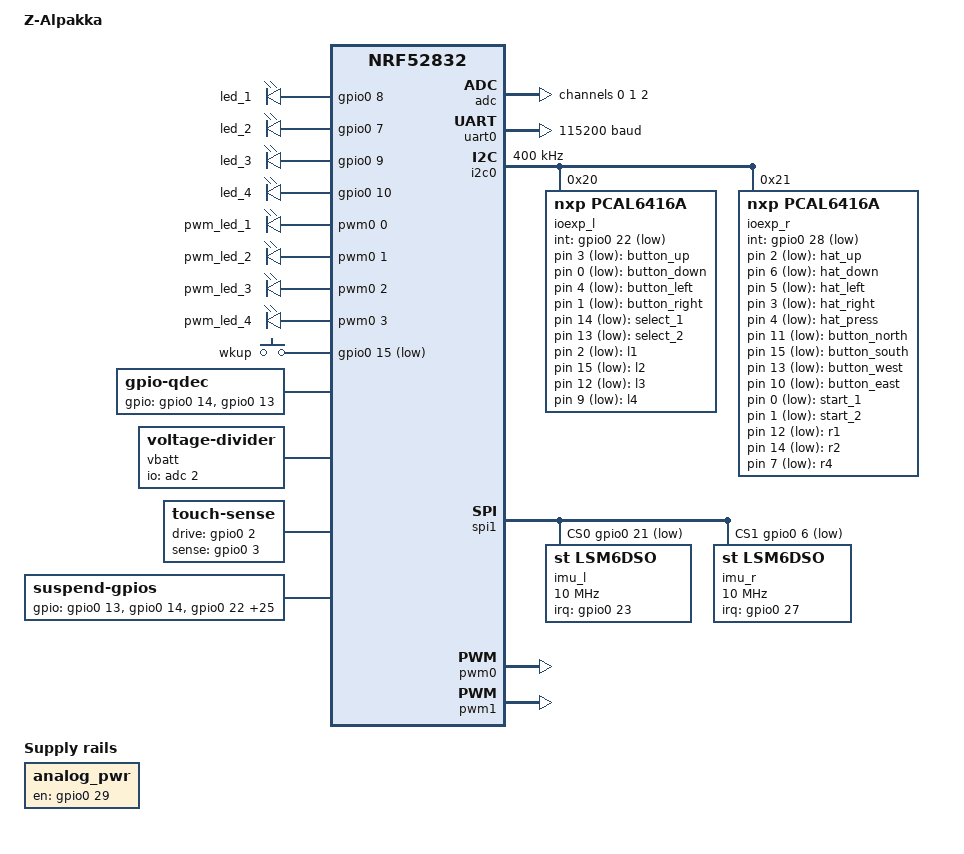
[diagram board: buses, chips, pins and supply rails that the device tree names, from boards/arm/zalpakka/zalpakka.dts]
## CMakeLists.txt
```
cmake_minimum_required(VERSION 3.20.0)

set(BOARD_ROOT ${CMAKE_CURRENT_LIST_DIR})
set(BOARD zalpakka)

find_package(Zephyr REQUIRED HINTS $ENV{ZEPHYR_BASE})
project(zalpakka)

FILE(GLOB app_sources src/*.c)
target_sources(app PRIVATE ${app_sources})
```

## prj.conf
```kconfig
CONFIG_SYSTEM_WORKQUEUE_STACK_SIZE=2048
CONFIG_INPUT_THREAD_STACK_SIZE=1024

CONFIG_INPUT_THREAD_PRIORITY_OVERRIDE=y
CONFIG_INPUT_THREAD_PRIORITY=10
CONFIG_SHELL_THREAD_PRIORITY_OVERRIDE=y
CONFIG_SHELL_THREAD_PRIORITY=13

CONFIG_PICOLIBC=y

CONFIG_PM_DEVICE=y

CONFIG_FPU=y
CONFIG_GPIO=y
CONFIG_I2C=y
CONFIG_PWM=y
CONFIG_LED=y
CONFIG_REGULATOR=y
CONFIG_REBOOT=y
CONFIG_ADC=y
CONFIG_SENSOR=y
CONFIG_FLASH=y
CONFIG_STREAM_FLASH=y
CONFIG_FLASH_MAP=y
CONFIG_NVS=y
CONFIG_SETTINGS=y
CONFIG_WATCHDOG=y
CONFIG_INPUT=y

CONFIG_LOG=y
CONFIG_LOG_PROCESS_THREAD_SLEEP_MS=100

CONFIG_SHELL=y
CONFIG_THREAD_RUNTIME_STATS=y

CONFIG_ADC_SHELL=n
CONFIG_BT_SHELL=n
CONFIG_DEVMEM_SHELL=n
CONFIG_FLASH_SHELL=n
CONFIG_GPIO_SHELL=n
CONFIG_I2C_SHELL=y
CONFIG_LED_SHELL=y
CONFIG_REGULATOR_SHELL=y
CONFIG_SENSOR_SHELL=y
CONFIG_SETTINGS_SHELL=y

CONFIG_BT=y
CONFIG_BT_SMP=y
CONFIG_BT_PERIPHERAL=y
CONFIG_BT_BAS=y
CONFIG_BT_DEVICE_NAME="Z-Alpakka"
CONFIG_BT_DEVICE_APPEARANCE=964
CONFIG_BT_SETTINGS=y

CONFIG_BT_PERIPHERAL_PREF_MIN_INT=6
CONFIG_BT_PERIPHERAL_PREF_MAX_INT=6
CONFIG_BT_PERIPHERAL_PREF_LATENCY=10
CONFIG_BT_PERIPHERAL_PREF_TIMEOUT=500
CONFIG_BT_CONN_PARAM_UPDATE_TIMEOUT=1000

CONFIG_BT_MAX_CONN=1
CONFIG_BT_MAX_PAIRED=1
```

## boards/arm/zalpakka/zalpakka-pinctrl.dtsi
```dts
&pinctrl {
	uart0_default: uart0_default {
		group1 {
			psels = <NRF_PSEL(UART_TX, 0, 26)>;
		};
		group2 {
			psels = <NRF_PSEL(UART_RX, 0, 25)>;
			bias-pull-up;
		};
	};

	uart0_sleep: uart0_sleep {
		group1 {
			psels = <NRF_PSEL(UART_TX, 0, 26)>,
				<NRF_PSEL(UART_RX, 0, 25)>;
			low-power-enable;
		};
	};

	i2c0_default: i2c0_default {
		group1 {
			psels = <NRF_PSEL(TWIM_SCL, 0, 17)>,
				<NRF_PSEL(TWIM_SDA, 0, 16)>;
		};
	};

	i2c0_sleep: i2c0_sleep {
		group1 {
			psels = <NRF_PSEL(TWIM_SCL, 0, 17)>,
				<NRF_PSEL(TWIM_SDA, 0, 16)>;
			low-power-enable;
		};
	};

	pwm0_default: pwm0_default {
		group1 {
			psels = <NRF_PSEL(PWM_OUT0, 0, 8)>,
				<NRF_PSEL(PWM_OUT1, 0, 7)>,
				<NRF_PSEL(PWM_OUT2, 0, 9)>,
				<NRF_PSEL(PWM_OUT3, 0, 10)>;
		};
	};

	pwm0_sleep: pwm0_sleep {
		group1 {
			psels = <NRF_PSEL(PWM_OUT0, 0, 8)>,
				<NRF_PSEL(PWM_OUT1, 0, 7)>,
				<NRF_PSEL(PWM_OUT2, 0, 9)>,
				<NRF_PSEL(PWM_OUT3, 0, 10)>;
			low-power-enable;
		};
	};

	pwm1_default: pwm1_default {
		group1 {
			psels = <NRF_PSEL(PWM_OUT0, 0, 11)>,
				<NRF_PSEL(PWM_OUT1, 0, 12)>;
		};
	};

	pwm1_sleep: pwm1_sleep {
		group1 {
			psels = <NRF_PSEL(PWM_OUT0, 0, 11)>,
				<NRF_PSEL(PWM_OUT1, 0, 12)>;
			low-power-enable;
		};
	};

	spi1_default: spi1_default {
		group1 {
			psels = <NRF_PSEL(SPIM_SCK, 0, 20)>,
				<NRF_PSEL(SPIM_MISO, 0, 18)>,
				<NRF_PSEL(SPIM_MOSI, 0, 19)>;
		};
	};

	spi1_sleep: spi1_sleep {
		group1 {
			psels = <NRF_PSEL(SPIM_SCK, 0, 20)>,
				<NRF_PSEL(SPIM_MISO, 0, 18)>,
				<NRF_PSEL(SPIM_MOSI, 0, 19)>;
			low-power-enable;
			bias-pull-down;
		};
	};

	qdec0_default: qdec0_default {
		group1 {
			psels = <NRF_PSEL(QDEC_A, 0, 13)>,
				<NRF_PSEL(QDEC_B, 0, 14)>;
		};
	};

	qdec0_sleep: qdec0_sleep {
		group1 {
			psels = <NRF_PSEL(QDEC_A, 0, 13)>,
				<NRF_PSEL(QDEC_B, 0, 14)>;
			low-power-enable;
		};
	};
};
```

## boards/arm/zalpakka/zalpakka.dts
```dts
/dts-v1/;
#include <nordic/nrf52832_qfaa.dtsi>
#include <dt-bindings/input/input-event-codes.h>
#include "zalpakka-pinctrl.dtsi"

/ {
	model = "Z-Alpakka";
	compatible = "inputlabs,z-alpakka";

	chosen {
		zephyr,console = &uart0;
		zephyr,shell-uart = &uart0;
		zephyr,uart-mcumgr = &uart0;
		zephyr,sram = &sram0;
		zephyr,flash = &flash0;
		zephyr,code-partition = &slot0_partition;
	};

	leds {
		compatible = "gpio-leds";
		led_1 {
			gpios = <&gpio0 8 GPIO_ACTIVE_HIGH>;
		};
		led_2 {
			gpios = <&gpio0 7 GPIO_ACTIVE_HIGH>;
		};
		led_3 {
			gpios = <&gpio0 9 GPIO_ACTIVE_HIGH>;
		};
		led_4 {
			gpios = <&gpio0 10 GPIO_ACTIVE_HIGH>;
		};
	};

	pwmleds {
		compatible = "pwm-leds";
		pwm_led_1 {
			pwms = <&pwm0 0 PWM_HZ(200) PWM_POLARITY_NORMAL>;
		};
		pwm_led_2 {
			pwms = <&pwm0 1 PWM_HZ(200) PWM_POLARITY_NORMAL>;
		};
		pwm_led_3 {
			pwms = <&pwm0 2 PWM_HZ(200) PWM_POLARITY_NORMAL>;
		};
		pwm_led_4 {
			pwms = <&pwm0 3 PWM_HZ(200) PWM_POLARITY_NORMAL>;
		};
	};

	buttons {
		compatible = "zephyr,gpio-keys";
		wkup: button_analog {
			gpios = <&gpio0 15 (GPIO_PULL_UP | GPIO_ACTIVE_LOW)>;
			zephyr,code = <INPUT_BTN_MODE>;
		};

		button_up {
			gpios = <&ioexp_l 3 (GPIO_PULL_UP | GPIO_ACTIVE_LOW)>;
			zephyr,code = <INPUT_KEY_0>;
		};
		button_down {
			gpios = <&ioexp_l 0 (GPIO_PULL_UP | GPIO_ACTIVE_LOW)>;
			zephyr,code = <INPUT_KEY_1>;
		};
		button_left {
			gpios = <&ioexp_l 4 (GPIO_PULL_UP | GPIO_ACTIVE_LOW)>;
			zephyr,code = <INPUT_KEY_2>;
		};
		button_right {
			gpios = <&ioexp_l 1 (GPIO_PULL_UP | GPIO_ACTIVE_LOW)>;
			zephyr,code = <INPUT_KEY_3>;
		};

		hat_up {
			gpios = <&ioexp_r 2 (GPIO_PULL_UP | GPIO_ACTIVE_LOW)>;
			zephyr,code = <INPUT_BTN_DPAD_UP>;
		};
		hat_down {
			gpios = <&ioexp_r 6 (GPIO_PULL_UP | GPIO_ACTIVE_LOW)>;
			zephyr,code = <INPUT_BTN_DPAD_DOWN>;
		};
		hat_left {
			gpios = <&ioexp_r 5 (GPIO_PULL_UP | GPIO_ACTIVE_LOW)>;
			zephyr,code = <INPUT_BTN_DPAD_LEFT>;
		};
		hat_right {
			gpios = <&ioexp_r 3 (GPIO_PULL_UP | GPIO_ACTIVE_LOW)>;
			zephyr,code = <INPUT_BTN_DPAD_RIGHT>;
		};
		hat_press {
			gpios = <&ioexp_r 4 (GPIO_PULL_UP | GPIO_ACTIVE_LOW)>;
			zephyr,code = <INPUT_BTN_MIDDLE>;
		};

		button_north {
			gpios = <&ioexp_r 11 (GPIO_PULL_UP | GPIO_ACTIVE_LOW)>;
			zephyr,code = <INPUT_BTN_NORTH>;
		};
		button_south {
			gpios = <&ioexp_r 15 (GPIO_PULL_UP | GPIO_ACTIVE_LOW)>;
			zephyr,code = <INPUT_BTN_SOUTH>;
		};
		button_west {
			gpios = <&ioexp_r 13 (GPIO_PULL_UP | GPIO_ACTIVE_LOW)>;
			zephyr,code = <INPUT_BTN_WEST>;
		};
		button_east {
			gpios = <&ioexp_r 10 (GPIO_PULL_UP | GPIO_ACTIVE_LOW)>;
			zephyr,code = <INPUT_BTN_EAST>;
		};

		select_1 {
			gpios = <&ioexp_l 14 (GPIO_PULL_UP | GPIO_ACTIVE_LOW)>;
			zephyr,code = <INPUT_BTN_SELECT>;
		};
		select_2 {
			gpios = <&ioexp_l 13 (GPIO_PULL_UP | GPIO_ACTIVE_LOW)>;
			zephyr,code = <INPUT_KEY_A>;
		};
		start_1 {
			gpios = <&ioexp_r 0 (GPIO_PULL_UP | GPIO_ACTIVE_LOW)>;
			zephyr,code = <INPUT_BTN_START>;
		};
		start_2 {
			gpios = <&ioexp_r 1 (GPIO_PULL_UP | GPIO_ACTIVE_LOW)>;
			zephyr,code = <INPUT_KEY_B>;
		};

		l1 {
			gpios = <&ioexp_l 2 (GPIO_PULL_UP | GPIO_ACTIVE_LOW)>;
			zephyr,code = <INPUT_BTN_TL>;
		};
		l2 {
			gpios = <&ioexp_l 15 (GPIO_PULL_UP | GPIO_ACTIVE_LOW)>;
			zephyr,code = <INPUT_BTN_TL2>;
		};
		l3 {
			gpios = <&ioexp_l 12 (GPIO_PULL_UP | GPIO_ACTIVE_LOW)>;
			zephyr,code = <INPUT_BTN_THUMBL>;
		};
		l4 {
			gpios = <&ioexp_l 9 (GPIO_PULL_UP | GPIO_ACTIVE_LOW)>;
			zephyr,code = <INPUT_KEY_C>;
		};
		r1 {
			gpios = <&ioexp_r 12 (GPIO_PULL_UP | GPIO_ACTIVE_LOW)>;
			zephyr,code = <INPUT_BTN_TR>;
		};
		r2 {
			gpios = <&ioexp_r 14 (GPIO_PULL_UP | GPIO_ACTIVE_LOW)>;
			zephyr,code = <INPUT_BTN_TR2>;
		};
		r4 {
			gpios = <&ioexp_r 7 (GPIO_PULL_UP | GPIO_ACTIVE_LOW)>;
			zephyr,code = <INPUT_KEY_D>;
		};
	};

	qdec {
		compatible = "gpio-qdec";
		gpios = <&gpio0 14 (GPIO_PULL_UP | GPIO_ACTIVE_HIGH)>,
		        <&gpio0 13 (GPIO_PULL_UP | GPIO_ACTIVE_HIGH)>;
		steps-per-period = <2>;
		zephyr,axis = <INPUT_REL_Z>;
		sample-time-us = <2000>;
		idle-timeout-ms = <200>;
	};

	analog-axis {
		compatible = "analog-axis";
		axis-x {
			io-channels = <&adc 1>;
			offset = <(-480)>;
			dead-zone = <30>;
			limit = <300>;
			code = <INPUT_ABS_X>;
		};
		axis-y {
			io-channels = <&adc 0>;
			offset = <(-480)>;
			dead-zone = <30>;
			limit = <300>;
			code = <INPUT_ABS_Y>;
		};
	};

	analog_pwr: analog_pwr {
		 compatible = "regulator-fixed";
		 regulator-name = "analog_pwr";
		 enable-gpios = <&gpio0 29 GPIO_ACTIVE_HIGH>;
		 regulator-boot-on;
	};

	vbatt: vbatt {
		compatible = "voltage-divider";
		io-channels = <&adc 2>;
		output-ohms = <100000>;
		full-ohms = <200000>;
	};

	touch-sense {
		compatible = "touch-sense";
		drive-gpios = <&gpio0 2 GPIO_ACTIVE_HIGH>;
		sense-gpios = <&gpio0 3 GPIO_ACTIVE_HIGH>;
	};

	suspend-gpios {
		compatible = "suspend-gpios";
		gpios = <&gpio0 13 (GPIO_PULL_DOWN | GPIO_ACTIVE_HIGH)>,
			<&gpio0 14 (GPIO_PULL_DOWN | GPIO_ACTIVE_HIGH)>,
			<&gpio0 22 (GPIO_PULL_DOWN | GPIO_ACTIVE_HIGH)>,
			<&gpio0 28 (GPIO_PULL_DOWN | GPIO_ACTIVE_HIGH)>,
			<&ioexp_l  0 (GPIO_PULL_DOWN | GPIO_ACTIVE_HIGH)>,
			<&ioexp_l  1 (GPIO_PULL_DOWN | GPIO_ACTIVE_HIGH)>,
			<&ioexp_l  2 (GPIO_PULL_DOWN | GPIO_ACTIVE_HIGH)>,
			<&ioexp_l  3 (GPIO_PULL_DOWN | GPIO_ACTIVE_HIGH)>,
			<&ioexp_l  4 (GPIO_PULL_DOWN | GPIO_ACTIVE_HIGH)>,
			<&ioexp_l  9 (GPIO_PULL_DOWN | GPIO_ACTIVE_HIGH)>,
			<&ioexp_l 12 (GPIO_PULL_DOWN | GPIO_ACTIVE_HIGH)>,
			<&ioexp_l 13 (GPIO_PULL_DOWN | GPIO_ACTIVE_HIGH)>,
			<&ioexp_l 14 (GPIO_PULL_DOWN | GPIO_ACTIVE_HIGH)>,
			<&ioexp_l 15 (GPIO_PULL_DOWN | GPIO_ACTIVE_HIGH)>,
			<&ioexp_r  0 (GPIO_PULL_DOWN | GPIO_ACTIVE_HIGH)>,
			<&ioexp_r  1 (GPIO_PULL_DOWN | GPIO_ACTIVE_HIGH)>,
			<&ioexp_r  2 (GPIO_PULL_DOWN | GPIO_ACTIVE_HIGH)>,
			<&ioexp_r  3 (GPIO_PULL_DOWN | GPIO_ACTIVE_HIGH)>,
			<&ioexp_r  4 (GPIO_PULL_DOWN | GPIO_ACTIVE_HIGH)>,
			<&ioexp_r  5 (GPIO_PULL_DOWN | GPIO_ACTIVE_HIGH)>,
			<&ioexp_r  6 (GPIO_PULL_DOWN | GPIO_ACTIVE_HIGH)>,
			<&ioexp_r  7 (GPIO_PULL_DOWN | GPIO_ACTIVE_HIGH)>,
			<&ioexp_r 10 (GPIO_PULL_DOWN | GPIO_ACTIVE_HIGH)>,
			<&ioexp_r 11 (GPIO_PULL_DOWN | GPIO_ACTIVE_HIGH)>,
			<&ioexp_r 12 (GPIO_PULL_DOWN | GPIO_ACTIVE_HIGH)>,
			<&ioexp_r 13 (GPIO_PULL_DOWN | GPIO_ACTIVE_HIGH)>,
			<&ioexp_r 14 (GPIO_PULL_DOWN | GPIO_ACTIVE_HIGH)>,
			<&ioexp_r 15 (GPIO_PULL_DOWN | GPIO_ACTIVE_HIGH)>;
	};
};

&adc {
	status = "okay";
	#address-cells = <1>;
	#size-cells = <0>;

	channel@0 {
		reg = <0>;
		zephyr,gain = "ADC_GAIN_1_5";
		zephyr,reference = "ADC_REF_INTERNAL";
		zephyr,acquisition-time = <ADC_ACQ_TIME(ADC_ACQ_TIME_MICROSECONDS, 5)>;
		zephyr,input-positive = <NRF_SAADC_AIN2>;
		zephyr,resolution = <10>;
	};

	channel@1 {
		reg = <1>;
		zephyr,gain = "ADC_GAIN_1_5";
		zephyr,reference = "ADC_REF_INTERNAL";
		zephyr,acquisition-time = <ADC_ACQ_TIME(ADC_ACQ_TIME_MICROSECONDS, 5)>;
		zephyr,input-positive = <NRF_SAADC_AIN3>;
		zephyr,resolution = <10>;
	};

	channel@2 {
		reg = <2>;
		zephyr,gain = "ADC_GAIN_1_4";
		zephyr,reference = "ADC_REF_INTERNAL";
		zephyr,acquisition-time = <ADC_ACQ_TIME(ADC_ACQ_TIME_MICROSECONDS, 40)>;
		zephyr,input-positive = <NRF_SAADC_AIN6>;
		zephyr,resolution = <10>;
	};
};

&gpiote {
	status = "okay";
};

&gpio0 {
	status = "okay";
};

&uart0 {
	status = "okay";
	compatible = "nordic,nrf-uarte";
	current-speed = <115200>;
	pinctrl-0 = <&uart0_default>;
	pinctrl-1 = <&uart0_sleep>;
	pinctrl-names = "default", "sleep";
};

&i2c0 {
	compatible = "nordic,nrf-twi";
	status = "okay";
	clock-frequency = <I2C_BITRATE_FAST>;
	pinctrl-0 = <&i2c0_default>;
	pinctrl-1 = <&i2c0_sleep>;
	pinctrl-names = "default", "sleep";

	ioexp_l: pcal6416a@20 {
		compatible = "nxp,pcal6416a";
		status = "okay";
		reg = <0x20>;
		gpio-controller;
		#gpio-cells = <2>;
		ngpios = <16>;
		int-gpios = <&gpio0 22 (GPIO_PULL_UP | GPIO_ACTIVE_LOW)>;
	};

	ioexp_r: pcal6416a@21 {
		compatible = "nxp,pcal6416a";
		status = "okay";
		reg = <0x21>;
		gpio-controller;
		#gpio-cells = <2>;
		ngpios = <16>;
		int-gpios = <&gpio0 28 (GPIO_PULL_UP | GPIO_ACTIVE_LOW)>;
	};
};

&spi1 {
	compatible = "nordic,nrf-spi";
	status = "okay";
	pinctrl-0 = <&spi1_default>;
	pinctrl-1 = <&spi1_sleep>;
	pinctrl-names = "default", "sleep";

	cs-gpios = <&gpio0 21 GPIO_ACTIVE_LOW>, <&gpio0 6 GPIO_ACTIVE_LOW>;

	imu_l: lsm6dso@0 {
		compatible = "st,lsm6dso";
		spi-max-frequency = <DT_FREQ_M(10)>;
		reg = <0>;
		irq-gpios = <&gpio0 23 GPIO_ACTIVE_HIGH>;
	};

	imu_r: lsm6dso@1 {
		compatible = "st,lsm6dso";
		spi-max-frequency = <DT_FREQ_M(10)>;
		reg = <1>;
		irq-gpios = <&gpio0 27 GPIO_ACTIVE_HIGH>;
	};
};

&pwm0 {
	status = "okay";
	pinctrl-0 = <&pwm0_default>;
	pinctrl-1 = <&pwm0_sleep>;
	pinctrl-names = "default", "sleep";
};

&pwm1 {
	status = "okay";
	pinctrl-0 = <&pwm1_default>;
	pinctrl-1 = <&pwm1_sleep>;
	pinctrl-names = "default", "sleep";
};

&flash0 {
	partitions {
		compatible = "fixed-partitions";
		#address-cells = <1>;
		#size-cells = <1>;

		boot_partition: partition@0 {
			label = "mcuboot";
			reg = <0x00000000 0x8000>;
		};
		slot0_partition: partition@8000 {
			label = "image-0";
			reg = <0x00008000 0x3a000>;
		};
		slot1_partition: partition@42000 {
			label = "image-1";
			reg = <0x00042000 0x3a000>;
		};
		storage_partition: partition@7c000 {
			label = "storage";
			reg = <0x0007c000 0x00004000>;
		};
	};
};
```

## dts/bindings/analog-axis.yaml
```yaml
description: Analog axis

compatible: "analog-axis"

include: base.yaml

child-binding:
  properties:
    io-channels:
      type: phandle-array
      required: true

    offset:
      type: int
      required: true

    dead-zone:
      type: int
      required: true

    limit:
      type: int
      required: true

    code:
      type: int
      required: true

    invert:
      type: boolean
```

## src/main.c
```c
#include <zephyr/drivers/watchdog.h>
#include <zephyr/kernel.h>
#include <zephyr/logging/log.h>

LOG_MODULE_REGISTER(main, LOG_LEVEL_INF);

static const struct device *wdt = DEVICE_DT_GET(DT_NODELABEL(wdt));

int main(void)
{
	int wdt_channel_id;
	int err;

	printk("Z-Alpakka started\n");

	if (!device_is_ready(wdt)) {
		LOG_ERR("wdt device is not ready");
		return 0;
	}

	struct wdt_timeout_cfg wdt_config = {
		.flags = WDT_FLAG_RESET_SOC,
		.window.min = 0,
		.window.max = 5000,
	};

	wdt_channel_id = wdt_install_timeout(wdt, &wdt_config);
	if (wdt_channel_id < 0) {
		LOG_ERR("Watchdog install error");
		return 0;
	}

	err = wdt_setup(wdt, WDT_OPT_PAUSE_HALTED_BY_DBG);
	if (err < 0) {
		LOG_ERR("Watchdog setup error");
		return 0;
	}

	for (;;) {
		wdt_feed(wdt, wdt_channel_id);
		k_sleep(K_SECONDS(1));
	}

	return 0;
}
```

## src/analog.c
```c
#include <stdlib.h>
#include <zephyr/drivers/adc.h>
#include <zephyr/input/input.h>
#include <zephyr/kernel.h>
#include <zephyr/logging/log.h>
#include <zephyr/sys/util.h>

#include "system.h"

#define DT_DRV_COMPAT analog_axis

LOG_MODULE_REGISTER(analog, LOG_LEVEL_INF);

static K_TIMER_DEFINE(analog_sync, NULL, NULL);

#define AXIS_INIT(node) { \
	.adc = ADC_DT_SPEC_GET(node), \
	.offset = DT_PROP(node, offset), \
	.dead_zone = DT_PROP(node, dead_zone), \
	.limit = DT_PROP(node, limit), \
	.code = DT_PROP(node, code), \
	.invert = DT_PROP(node, invert), \
},

static const struct {
	struct adc_dt_spec adc;
	int offset;
	int dead_zone;
	int limit;
	uint16_t code;
	bool invert;
} axis[] = {
	DT_INST_FOREACH_CHILD(0, AXIS_INIT)
};

#define CHANNELS ARRAY_SIZE(axis)

static struct {
	uint8_t out[CHANNELS];
} data;

BUILD_ASSERT(CHANNELS == 2);

static void analog_loop(void)
{
	int err;
	int i;
	int16_t bufs[CHANNELS];
	int32_t out;
	struct adc_sequence sequence = {
		.buffer = bufs,
		.buffer_size = sizeof(bufs),
	};

	adc_sequence_init_dt(&axis[0].adc, &sequence);

	for (i = 0; i < CHANNELS; i++) {
		sequence.channels |= BIT(axis[i].adc.channel_id);
	}

	err = adc_read(axis[0].adc.dev, &sequence);
	if (err < 0) {
		LOG_ERR("Could not read (%d)", err);
		return;
	}

	LOG_DBG("analog: %4d %4d", bufs[0], bufs[1]);

	for (i = 0; i < CHANNELS; i++) {
		bufs[i] += axis[i].offset;

		if (axis[i].invert) {
			bufs[i] *= -1;
		}

		if (abs(bufs[i]) < axis[i].dead_zone) {
			out = 128;
		} else {
			out = CLAMP(bufs[i] * INT8_MAX / axis[i].limit + 128,
				       0, UINT8_MAX);
		}

		if (data.out[i] != out) {
			input_report_abs(NULL, axis[i].code, out, true, K_FOREVER);
		}
		data.out[i] = out;
	}
}

static void analog_thread(void)
{
	int err;
	int i;

	for (i = 0; i < CHANNELS; i++) {
		if (!device_is_ready(axis[i].adc.dev)) {
			LOG_ERR("ADC controller device not ready");
			return;
		}

		err = adc_channel_setup_dt(&axis[i].adc);
		if (err < 0) {
			LOG_ERR("Could not setup channel #%d (%d)", i, err);
			return;
		}
	}

	k_timer_start(&analog_sync, K_MSEC(15), K_MSEC(15));

	while (system_is_running()) {
		analog_loop();
		k_timer_status_sync(&analog_sync);
	}
}

K_THREAD_DEFINE(analog, 512, analog_thread, NULL, NULL, NULL, 7, 0, 0);
```

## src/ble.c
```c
#include <zephyr/bluetooth/bluetooth.h>
#include <zephyr/bluetooth/hci.h>
#include <zephyr/bluetooth/uuid.h>
#include <zephyr/device.h>
#include <zephyr/kernel.h>
#include <zephyr/logging/log.h>
#include <zephyr/mgmt/mcumgr/transport/smp_bt.h>
#include <zephyr/settings/settings.h>
#include <zephyr/shell/shell.h>

LOG_MODULE_REGISTER(ble, LOG_LEVEL_INF);

static const struct bt_data ad[] = {
	BT_DATA_BYTES(BT_DATA_FLAGS, (BT_LE_AD_GENERAL | BT_LE_AD_NO_BREDR)),
	BT_DATA_BYTES(BT_DATA_GAP_APPEARANCE,
		      CONFIG_BT_DEVICE_APPEARANCE & 0xff,
		      (CONFIG_BT_DEVICE_APPEARANCE >> 8) & 0xff),
	BT_DATA_BYTES(BT_DATA_UUID16_ALL,
		      BT_UUID_16_ENCODE(BT_UUID_HIDS_VAL),
		      BT_UUID_16_ENCODE(BT_UUID_BAS_VAL)),
};

#if CONFIG_SHELL

static int cmd_ble_unpair(const struct shell *sh, size_t argc, char **argv)
{
	int err;

	err = bt_unpair(BT_ID_DEFAULT, NULL);
	if (err) {
		shell_error(sh, "Failed to clear pairings (err %d)",
			    err);
		return err;
	}

	shell_print(sh, "Pairing successfully cleared");

	return 0;
}
SHELL_CMD_REGISTER(ble_unpair, NULL, "BLE Unpair", cmd_ble_unpair);

#endif

static void ble_disconnect(struct bt_conn *conn, void *user_data)
{
	int err;

	err = bt_conn_disconnect(conn, BT_HCI_ERR_REMOTE_USER_TERM_CONN);
	if (err) {
		LOG_ERR("bt_conn_disconnect: %d", err);
	}
}


void ble_stop(void)
{
	int err;

	err = bt_le_adv_stop();
	if (err) {
		LOG_ERR("bt_le_adv_stop: %d", err);
	}

	bt_conn_foreach(BT_CONN_TYPE_LE, ble_disconnect, NULL);
}

static int ble_setup(void)
{
	int err;

	err = bt_enable(NULL);
	if (err) {
		LOG_ERR("Bluetooth init failed (err %d)", err);
		return -EIO;
	}

	LOG_INF("Bluetooth initialized");

	if (IS_ENABLED(CONFIG_SETTINGS)) {
		settings_load();
	}

	err = bt_le_adv_start(BT_LE_ADV_CONN_NAME, ad, ARRAY_SIZE(ad), NULL, 0);
	if (err) {
		LOG_ERR("Advertising failed to start (err %d)", err);
		return -EIO;
	}

	LOG_INF("Advertising successfully started");

	return 0;
}
SYS_INIT(ble_setup, APPLICATION, CONFIG_APPLICATION_INIT_PRIORITY);
```

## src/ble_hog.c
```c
#include <zephyr/bluetooth/bluetooth.h>
#include <zephyr/bluetooth/gatt.h>
#include <zephyr/bluetooth/uuid.h>
#include <zephyr/dt-bindings/input/input-event-codes.h>
#include <zephyr/input/input.h>
#include <zephyr/kernel.h>
#include <zephyr/logging/log.h>
#include <zephyr/sys/util.h>

#include "system.h"

LOG_MODULE_REGISTER(ble_hog, LOG_LEVEL_INF);

enum {
	HIDS_REMOTE_WAKE = BIT(0),
	HIDS_NORMALLY_CONNECTABLE = BIT(1),
};

struct hids_info {
	uint16_t version; /* version number of base USB HID Specification */
	uint8_t code; /* country HID Device hardware is localized for. */
	uint8_t flags;
} __packed;

struct hids_report {
	uint8_t id; /* report id */
	uint8_t type; /* report type */
} __packed;

static struct hids_info info = {
	.version = 0x0000,
	.code = 0x00,
	.flags = HIDS_NORMALLY_CONNECTABLE,
};

enum {
	HIDS_INPUT = 0x01,
	HIDS_OUTPUT = 0x02,
	HIDS_FEATURE = 0x03,
};

static struct hids_report input_gamepad = {
	.id = 0x01,
	.type = HIDS_INPUT,
};

static struct hids_report input_mouse = {
	.id = 0x02,
	.type = HIDS_INPUT,
};

static struct hids_report input_keyboard = {
	.id = 0x03,
	.type = HIDS_INPUT,
};

static bool notify_enabled;
static uint8_t ctrl_point;
static uint8_t report_map[] = {
	/* Gamepad */
	0x05, 0x01,                    // Usage Page (Generic Desktop)
	0x09, 0x05,                    // Usage (Game Pad)
	0xa1, 0x01,                    // Collection (Application)
	0x85, 0x01,                    //  Report ID (1)

	0x05, 0x01,                    //  Usage Page (Generic Desktop)
	0x75, 0x04,                    //  Report Size (4)
	0x95, 0x01,                    //  Report Count (1)
	0x25, 0x07,                    //  Logical Maximum (7)
	0x46, 0x3b, 0x01,              //  Physical Maximum (315)
	0x65, 0x14,                    //  Unit (Degrees,EngRotation)
	0x09, 0x39,                    //  Usage (Hat switch)
	0x81, 0x42,                    //  Input (Data,Var,Abs,Null)
	0x45, 0x00,                    //  Physical Maximum (0)
	0x65, 0x00,                    //  Unit (None)

	0x75, 0x01,                    //  Report Size (1)
	0x95, 0x04,                    //  Report Count (4)
	0x81, 0x01,                    //  Input (Cnst,Arr,Abs)

	0x05, 0x09,                    //  Usage Page (Button)
	0x15, 0x00,                    //  Logical Minimum (0)
	0x25, 0x01,                    //  Logical Maximum (1)
	0x75, 0x01,                    //  Report Size (1)
	0x95, 0x0d,                    //  Report Count (13)
	0x09, 0x01,                    //  Usage (BTN_SOUTH)
	0x09, 0x02,                    //  Usage (BTN_EAST)
	0x09, 0x04,                    //  Usage (BTN_NORTH)
	0x09, 0x05,                    //  Usage (BTN_WEST)
	0x09, 0x07,                    //  Usage (BTN_TL)
	0x09, 0x08,                    //  Usage (BTN_TR)
	0x09, 0x0b,                    //  Usage (BTN_SELECT)
	0x09, 0x0c,                    //  Usage (BTN_START)
	0x09, 0x0d,                    //  Usage (BTN_MODE)
	0x09, 0x0e,                    //  Usage (BTN_THUMBL)
	0x09, 0x0f,                    //  Usage (BTN_THUMBR)
	0x09, 0x11,                    //  Usage (BTN_TRIGGER_HAPPY1)
	0x09, 0x12,                    //  Usage (BTN_TRIGGER_HAPPY2)
	0x81, 0x02,                    //  Input (Data,Var,Abs)

	0x75, 0x01,                    //  Report Size (1)
	0x95, 0x03,                    //  Report Count (3)
	0x81, 0x01,                    //  Input (Cnst,Arr,Abs)

	0x05, 0x01,                    //  Usage Page (Generic Desktop)
	0x15, 0x01,                    //  Logical Minimum (1)
	0x26, 0xff, 0x00,              //  Logical Maximum (255)
	0x09, 0x01,                    //  Usage (Pointer)
	0xa1, 0x00,                    //  Collection (Physical)
	0x09, 0x30,                    //   Usage (X)
	0x09, 0x31,                    //   Usage (Y)
	0x75, 0x08,                    //   Report Size (8)
	0x95, 0x02,                    //   Report Count (2)
	0x81, 0x02,                    //   Input (Data,Var,Abs)
	0xc0,                          //  End Collection

	0x09, 0x01,                    //  Usage (Pointer)
	0xa1, 0x00,                    //  Collection (Physical)
	0x09, 0x33,                    //   Usage (Rx)
	0x09, 0x34,                    //   Usage (Ry)
	0x75, 0x08,                    //   Report Size (8)
	0x95, 0x02,                    //   Report Count (2)
	0x81, 0x02,                    //   Input (Data,Var,Abs)

	0xc0,                          //  End Collection
	0xc0,                          // End Collection

	/* Mouse */
	0x05, 0x01,                    // Usage Page (Generic Desktop)
	0x09, 0x02,                    // Usage (Mouse)
	0xa1, 0x01,                    // Collection (Application)
	0x85, 0x02,                    //  Report ID (2)
	0x09, 0x01,                    //  Usage (Pointer)
	0xa1, 0x00,                    //  Collection (Physical)

	0x05, 0x09,                    //   Usage Page (Button)
	0x19, 0x01,                    //   Usage Minimum (1)
	0x29, 0x03,                    //   Usage Maximum (3)
	0x15, 0x00,                    //   Logical Minimum (0)
	0x25, 0x01,                    //   Logical Maximum (1)
	0x95, 0x03,                    //   Report Count (3)
	0x75, 0x01,                    //   Report Size (1)
	0x81, 0x02,                    //   Input (Data,Var,Abs)

	0x95, 0x01,                    //   Report Count (1)
	0x75, 0x05,                    //   Report Size (5)
	0x81, 0x03,                    //   Input (Cnst,Var,Abs)

	0x05, 0x01,                    //   Usage Page (Generic Desktop)
	0x16, 0x01, 0x80,              //   Logical Minimum (-32767)
	0x26, 0xff, 0x7f,              //   Logical Maximum (32767)
	0x75, 0x10,                    //   Report Size (16)
	0x95, 0x02,                    //   Report Count (2)
	0x09, 0x30,                    //   Usage (X)
	0x09, 0x31,                    //   Usage (Y)
	0x81, 0x06,                    //   Input (Data,Var,Rel)

	0x15, 0x81,                    //   Logical Minimum (-127)
	0x25, 0x7f,                    //   Logical Maximum (127)
	0x75, 0x08,                    //   Report Size (8)
	0x95, 0x01,                    //   Report Count (1)
	0x09, 0x38,                    //   Usage (Wheel)
	0x81, 0x06,                    //   Input (Data,Var,Rel)

	0xc0,                          //  End Collection
	0xc0,                          // End Collection

	/* Keyboard */
	0x05, 0x01,                    // Usage Page (Generic Desktop)
	0x09, 0x06,                    // Usage (Keyboard)
	0xa1, 0x01,                    // Collection (Application)
	0x85, 0x03,                    //  Report ID (3)
	0x05, 0x07,                    //  Usage Page (Keyboard)
	0x19, 0xe0,                    //  Usage Minimum (224)
	0x29, 0xe7,                    //  Usage Maximum (231)
	0x15, 0x00,                    //  Logical Minimum (0)
	0x25, 0x01,                    //  Logical Maximum (1)
	0x95, 0x08,                    //  Report Count (8)
	0x75, 0x01,                    //  Report Size (1)
	0x81, 0x02,                    //  Input (Data,Var,Abs)
	0x95, 0x01,                    //  Report Count (1)
	0x75, 0x08,                    //  Report Size (8)
	0x81, 0x01,                    //  Input (Cnst,Arr,Abs)
	0x05, 0x07,                    //  Usage Page (Keyboard)
	0x19, 0x00,                    //  Usage Minimum (0)
	0x2a, 0xff, 0x00,              //  Usage Maximum (255)
	0x15, 0x00,                    //  Logical Minimum (0)
	0x26, 0xff, 0x00,              //  Logical Maximum (255)
	0x95, 0x06,                    //  Report Count (6)
	0x75, 0x08,                    //  Report Size (8)
	0x81, 0x00,                    //  Input (Data,Arr,Abs)
	0xc0,                          // End Collection

};

static ssize_t read_info(struct bt_conn *conn,
			  const struct bt_gatt_attr *attr, void *buf,
			  uint16_t len, uint16_t offset)
{
	return bt_gatt_attr_read(conn, attr, buf, len, offset, attr->user_data,
				 sizeof(struct hids_info));
}

static ssize_t read_report_map(struct bt_conn *conn,
			       const struct bt_gatt_attr *attr, void *buf,
			       uint16_t len, uint16_t offset)
{
	return bt_gatt_attr_read(conn, attr, buf, len, offset, report_map,
				 sizeof(report_map));
}

static ssize_t read_report(struct bt_conn *conn,
			   const struct bt_gatt_attr *attr, void *buf,
			   uint16_t len, uint16_t offset)
{
	return bt_gatt_attr_read(conn, attr, buf, len, offset, attr->user_data,
				 sizeof(struct hids_report));
}

static void input_ccc_changed(const struct bt_gatt_attr *attr, uint16_t value)
{
	ARG_UNUSED(attr);

	notify_enabled = (value == BT_GATT_CCC_NOTIFY);

	LOG_INF("notify_enabled: %d", notify_enabled);
}

static ssize_t read_input_report(struct bt_conn *conn,
				 const struct bt_gatt_attr *attr, void *buf,
				 uint16_t len, uint16_t offset)
{
	return bt_gatt_attr_read(conn, attr, buf, len, offset, NULL, 0);
}

static ssize_t write_ctrl_point(struct bt_conn *conn,
				const struct bt_gatt_attr *attr,
				const void *buf, uint16_t len, uint16_t offset,
				uint8_t flags)
{
	uint8_t *value = attr->user_data;

	if (offset + len > sizeof(ctrl_point)) {
		return BT_GATT_ERR(BT_ATT_ERR_INVALID_OFFSET);
	}

	memcpy(value + offset, buf, len);

	return len;
}

/* HID Service Declaration */
BT_GATT_SERVICE_DEFINE(hog_svc,
	BT_GATT_PRIMARY_SERVICE(BT_UUID_HIDS),
	BT_GATT_CHARACTERISTIC(BT_UUID_HIDS_INFO, BT_GATT_CHRC_READ,
			       BT_GATT_PERM_READ, read_info, NULL, &info),
	BT_GATT_CHARACTERISTIC(BT_UUID_HIDS_REPORT_MAP, BT_GATT_CHRC_READ,
			       BT_GATT_PERM_READ, read_report_map, NULL, NULL),

	/* Report 1: gamepad */
	BT_GATT_CHARACTERISTIC(BT_UUID_HIDS_REPORT,
			       BT_GATT_CHRC_READ | BT_GATT_CHRC_NOTIFY,
			       BT_GATT_PERM_READ_ENCRYPT,
			       read_input_report, NULL, NULL),
	BT_GATT_CCC(input_ccc_changed,
		    BT_GATT_PERM_READ_ENCRYPT | BT_GATT_PERM_WRITE_ENCRYPT),
	BT_GATT_DESCRIPTOR(BT_UUID_HIDS_REPORT_REF, BT_GATT_PERM_READ,
			   read_report, NULL, &input_gamepad),

	/* Report 2: mouse */
	BT_GATT_CHARACTERISTIC(BT_UUID_HIDS_REPORT,
			       BT_GATT_CHRC_READ | BT_GATT_CHRC_NOTIFY,
			       BT_GATT_PERM_READ_ENCRYPT,
			       read_input_report, NULL, NULL),
	BT_GATT_CCC(input_ccc_changed,
		    BT_GATT_PERM_READ_ENCRYPT | BT_GATT_PERM_WRITE_ENCRYPT),
	BT_GATT_DESCRIPTOR(BT_UUID_HIDS_REPORT_REF, BT_GATT_PERM_READ,
			   read_report, NULL, &input_mouse),

	/* Report 3: keyboard */
	BT_GATT_CHARACTERISTIC(BT_UUID_HIDS_REPORT,
			       BT_GATT_CHRC_READ | BT_GATT_CHRC_NOTIFY,
			       BT_GATT_PERM_READ_ENCRYPT,
			       read_input_report, NULL, NULL),
	BT_GATT_CCC(input_ccc_changed,
		    BT_GATT_PERM_READ_ENCRYPT | BT_GATT_PERM_WRITE_ENCRYPT),
	BT_GATT_DESCRIPTOR(BT_UUID_HIDS_REPORT_REF, BT_GATT_PERM_READ,
			   read_report, NULL, &input_keyboard),

	BT_GATT_CHARACTERISTIC(BT_UUID_HIDS_CTRL_POINT,
			       BT_GATT_CHRC_WRITE_WITHOUT_RESP,
			       BT_GATT_PERM_WRITE,
			       NULL, write_ctrl_point, &ctrl_point),
);

struct code_to_bit_map {
	uint16_t code;
	uint8_t bit;
};

static int code_to_bit(const struct code_to_bit_map *map, int map_size,
		       uint16_t code)
{
	int i;

	for (i = 0; i < map_size; i++) {
		if (map[i].code == code) {
			return map[i].bit;
		}
	}
	return -1;
}

struct {
	uint8_t hat;
	uint16_t buttons;
	uint8_t x;
	uint8_t y;
	uint8_t rx;
	uint8_t ry;
} __packed report_gamepad, report_gamepad_last;

struct {
	uint8_t buttons;
	int16_t x;
	int16_t y;
	int8_t wheel;
} __packed report_mouse, report_mouse_last;

#define KEYS_REPORT_SIZE 6
struct {
	uint8_t modifiers;
	uint8_t _reserved;
	uint8_t keys[KEYS_REPORT_SIZE];
} __packed report_keyboard, report_keyboard_last;

#define HAT_UP 0
#define HAT_DOWN 1
#define HAT_LEFT 2
#define HAT_RIGHT 3

static const struct code_to_bit_map hat_map[] = {
	{INPUT_BTN_DPAD_UP, HAT_UP},
	{INPUT_BTN_DPAD_DOWN, HAT_DOWN},
	{INPUT_BTN_DPAD_LEFT, HAT_LEFT},
	{INPUT_BTN_DPAD_RIGHT, HAT_RIGHT},
};

static void ble_hog_set_hat(uint16_t code, uint32_t value)
{
	static uint8_t hat_bits;
	int bit;

	bit = code_to_bit(hat_map, ARRAY_SIZE(hat_map), code);
	if (bit < 0) {
		return;
	}

	WRITE_BIT(hat_bits, bit, value);

	switch (hat_bits) {
	case BIT(HAT_UP):
		report_gamepad.hat = 0;
		break;
	case BIT(HAT_UP) | BIT(HAT_RIGHT):
		report_gamepad.hat = 1;
		break;
	case BIT(HAT_RIGHT):
		report_gamepad.hat = 2;
		break;
	case BIT(HAT_RIGHT) | BIT(HAT_DOWN):
		report_gamepad.hat = 3;
		break;
	case BIT(HAT_DOWN):
		report_gamepad.hat = 4;
		break;
	case BIT(HAT_DOWN) | BIT(HAT_LEFT):
		report_gamepad.hat = 5;
		break;
	case BIT(HAT_LEFT):
		report_gamepad.hat = 6;
		break;
	case BIT(HAT_LEFT) | BIT(HAT_UP):
		report_gamepad.hat = 7;
		break;
	default:
		report_gamepad.hat = 8;
	}
}

static const struct code_to_bit_map button_map[] = {
	{INPUT_BTN_MODE, 8},
};

static void ble_hog_set_key_gamepad(uint16_t code, uint32_t value)
{
	int bit;

	bit = code_to_bit(button_map, ARRAY_SIZE(button_map), code);
	if (bit < 0) {
		return;
	}

	WRITE_BIT(report_gamepad.buttons, bit, value);
}

static void ble_hog_set_key_mouse(uint16_t code, uint32_t value)
{
	uint16_t bit;

	switch (code) {
	case INPUT_BTN_TL2:
		bit = 1;
		break;
	case INPUT_BTN_TR2:
		bit = 0;
		break;
	default:
		return;
	}

	WRITE_BIT(report_mouse.buttons, bit, value);
}

static void ble_hog_set_abs(uint16_t code, uint32_t value)
{
	switch (code) {
	case INPUT_ABS_X:
		report_gamepad.x = CLAMP(value, 0, UINT8_MAX);
		break;
	case INPUT_ABS_Y:
		report_gamepad.y = CLAMP(value, 0, UINT8_MAX);
		break;
	default:
		return;
	}
}

static void ble_hog_set_rel(uint16_t code, int32_t value)
{
	switch (code) {
	case INPUT_REL_X:
		report_mouse.x = CLAMP(value, INT16_MIN, INT16_MAX);
		break;
	case INPUT_REL_Y:
		report_mouse.y = CLAMP(value, INT16_MIN, INT16_MAX);
		break;
	case INPUT_REL_Z:
		report_mouse.wheel = CLAMP(value, INT8_MIN, INT8_MAX);;
		break;
	default:
		return;
	}
}

static const struct code_to_bit_map button_map_keyboard[] = {
	{INPUT_KEY_0, 0x52}, /* dpad up */
	{INPUT_KEY_1, 0x51}, /* dpad down */
	{INPUT_KEY_2, 0x50}, /* dpad left */
	{INPUT_KEY_3, 0x4f}, /* dpad right */

	{INPUT_BTN_NORTH, 0x17},
	{INPUT_BTN_SOUTH, 0x09},
	{INPUT_BTN_WEST, 0x15},
	{INPUT_BTN_EAST, 0x19},

	{INPUT_BTN_SELECT, 0x2b},
	{INPUT_BTN_START, 0x29},
	{INPUT_KEY_A, 0x10}, /* select 2 */
	{INPUT_KEY_B, 0x11}, /* start 2 */

	{INPUT_BTN_TL, 0x14},
	{INPUT_BTN_TR, 0x08},

	{INPUT_KEY_C, 0x2c}, /* L4 */
};

static void ble_hog_set_key_keyboard(uint16_t code, uint32_t value)
{
	int i;
	int hid_code;

	/* modifiers */
	if (code == INPUT_BTN_THUMBL) {
		WRITE_BIT(report_keyboard.modifiers, 1, value);
		return;
	} else if (code == INPUT_KEY_D) {
		WRITE_BIT(report_keyboard.modifiers, 0, value);
		return;
	}

	/* normal keys */
	hid_code = code_to_bit(button_map_keyboard,
			       ARRAY_SIZE(button_map_keyboard),
			       code);
	if (hid_code < 0) {
		return;
	}

	if (value) {
		for (i = 0; i < KEYS_REPORT_SIZE; i++) {
			if (report_keyboard.keys[i] == 0x00) {
				report_keyboard.keys[i] = hid_code;
				return;
			}
		}
	} else {
		for (i = 0; i < KEYS_REPORT_SIZE; i++) {
			if (report_keyboard.keys[i] == hid_code) {
				report_keyboard.keys[i] = 0x00;
				return;
			}
		}
	}
}

static void input_cb(struct input_event *evt)
{
	if (evt->type == INPUT_EV_KEY) {
		ble_hog_set_hat(evt->code, evt->value);
		ble_hog_set_key_gamepad(evt->code, evt->value);
		ble_hog_set_key_mouse(evt->code, evt->value);
		ble_hog_set_key_keyboard(evt->code, evt->value);
	} else if (evt->type == INPUT_EV_ABS) {
		ble_hog_set_abs(evt->code, evt->value);
	} else if (evt->type == INPUT_EV_REL) {
		ble_hog_set_rel(evt->code, evt->value);
	} else {
		LOG_ERR("unrecognized event type: %x", evt->type);
	}

	if (!notify_enabled) {
		return;
	}

	if (!input_queue_empty()) {
		return;
	}

	if (memcmp(&report_gamepad_last, &report_gamepad, sizeof(report_gamepad))) {
		bt_gatt_notify(NULL, &hog_svc.attrs[5],
			       &report_gamepad, sizeof(report_gamepad));
		memcpy(&report_gamepad_last, &report_gamepad, sizeof(report_gamepad));
	}

	if (memcmp(&report_mouse_last, &report_mouse, sizeof(report_mouse))) {
		bt_gatt_notify(NULL, &hog_svc.attrs[9],
			       &report_mouse, sizeof(report_mouse));
		report_mouse.x = 0;
		report_mouse.y = 0;
		report_mouse.wheel = 0;
		memcpy(&report_mouse_last, &report_mouse, sizeof(report_mouse));
	}

	if (memcmp(&report_keyboard_last, &report_keyboard, sizeof(report_keyboard))) {
		bt_gatt_notify(NULL, &hog_svc.attrs[13],
			       &report_keyboard, sizeof(report_keyboard));
		memcpy(&report_keyboard_last, &report_keyboard, sizeof(report_keyboard));
	}
}
INPUT_LISTENER_CB_DEFINE(NULL, input_cb);
```

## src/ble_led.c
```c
#include <zephyr/drivers/led.h>
#include <zephyr/kernel.h>
#include <zephyr/logging/log.h>

#include "ble_status.h"

LOG_MODULE_REGISTER(ble_led, LOG_LEVEL_INF);

static const struct device *pwm_leds = DEVICE_DT_GET_ONE(pwm_leds);

static int ble_led_start(void)
{
	if (!device_is_ready(pwm_leds)) {
		LOG_ERR("leds device is not ready");
		return 0;
	}
	return 0;
}
SYS_INIT(ble_led_start, APPLICATION, 91);

static void ble_led_searching(void *arg1, void *arg2, void *arg3)
{
	for (;;) {
		led_set_brightness(pwm_leds, 3, 50);
		k_sleep(K_MSEC(30));
		led_set_brightness(pwm_leds, 3, 0);
		k_sleep(K_SECONDS(1));
	}
}

static void ble_led_paired(void *arg1, void *arg2, void *arg3)
{
	int i;

	for (;;) {
		for (i = 0; i <= 40; i++) {
			led_set_brightness(pwm_leds, 3, i);
			k_sleep(K_MSEC(5));
		}
		for (i = 40; i >= 0; i--) {
			led_set_brightness(pwm_leds, 3, i);
			k_sleep(K_MSEC(5));
		}
		k_sleep(K_SECONDS(2));
	}
}

static void ble_led_connected(void *arg1, void *arg2, void *arg3)
{
	int i;

	for (;;) {
		for (i = 0; i <= 40; i++) {
			led_set_brightness(pwm_leds, 3, 40 - i);
			k_sleep(K_MSEC(5));
		}
		for (i = 40; i >= 0; i--) {
			led_set_brightness(pwm_leds, 3, 40 - i);
			k_sleep(K_MSEC(5));
		}
		k_sleep(K_SECONDS(2));
	}
}

K_THREAD_STACK_DEFINE(ble_thread_stack, 256);

static struct k_thread ble_led;

void ble_led_restart(void)
{
	k_thread_entry_t entry;

	k_thread_abort(&ble_led);

	switch (ble_status_get()) {
	case BLE_STATUS_SEARCHING:
		entry = ble_led_searching;
		break;
	case BLE_STATUS_CONNECTED:
		entry = ble_led_connected;
		break;
	case BLE_STATUS_PAIRED:
		entry = ble_led_paired;
		break;
	default:
		LOG_ERR("unknown bt state");
		return;
	}

	k_thread_create(&ble_led, ble_thread_stack,
			K_THREAD_STACK_SIZEOF(ble_thread_stack),
			entry, NULL, NULL, NULL,
			7, 0, K_NO_WAIT);

	k_thread_name_set(&ble_led, "ble_led");
}

void ble_led_stop(void)
{
	led_set_brightness(pwm_leds, 3, 0);

	k_thread_abort(&ble_led);
}
```

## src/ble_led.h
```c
void ble_led_restart(void);
void ble_led_stop(void);
```

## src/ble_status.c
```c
#include <zephyr/bluetooth/bluetooth.h>
#include <zephyr/bluetooth/conn.h>
#include <zephyr/device.h>
#include <zephyr/logging/log.h>

#include "ble_status.h"
#include "ble_led.h"

LOG_MODULE_REGISTER(ble_state, LOG_LEVEL_INF);

static struct {
	bool ble_bonded;
	bool ble_connected;
} data;

K_MUTEX_DEFINE(data_lock);

enum ble_status ble_status_get(void)
{
	enum ble_status ret;

	k_mutex_lock(&data_lock, K_FOREVER);
	if (!data.ble_bonded) {
		ret = BLE_STATUS_SEARCHING;
	} else if (data.ble_connected) {
		ret = BLE_STATUS_CONNECTED;
	} else {
		ret = BLE_STATUS_PAIRED;
	}
	k_mutex_unlock(&data_lock);

	return ret;
}

static void bond_count_cb(const struct bt_bond_info *info, void *user_data)
{
	int *bond_count = user_data;
	(*bond_count)++;
}

static void update_ble_status(void)
{
	int bond_count = 0;

	bt_foreach_bond(BT_ID_DEFAULT, bond_count_cb, &bond_count);

	k_mutex_lock(&data_lock, K_FOREVER);
	data.ble_bonded = bond_count > 0;
	k_mutex_unlock(&data_lock);

	ble_led_restart();
}

static void auth_pairing_complete(struct bt_conn *conn, bool bonded)
{
	update_ble_status();
}

static void auth_bond_deleted(uint8_t id, const bt_addr_le_t *peer)
{
	update_ble_status();
}

static struct bt_conn_auth_info_cb auth_callbacks = {
	.pairing_complete = auth_pairing_complete,
	.bond_deleted = auth_bond_deleted
};

static int ble_setup(void)
{
	bt_conn_auth_info_cb_register(&auth_callbacks);

	update_ble_status();

	return 0;
}
SYS_INIT(ble_setup, APPLICATION, 91);

static void connected(struct bt_conn *conn, uint8_t err)
{
	char addr[BT_ADDR_LE_STR_LEN];
	int ret;

	bt_addr_le_to_str(bt_conn_get_dst(conn), addr, sizeof(addr));

	if (err) {
		LOG_ERR("Failed to connect to %s (%u)", addr, err);
		return;
	}

	LOG_INF("Connected %s", addr);

	ret = bt_conn_set_security(conn, BT_SECURITY_L2);
	if (ret) {
		LOG_ERR("Failed to set security");
	}

	k_mutex_lock(&data_lock, K_FOREVER);
	data.ble_connected = true;
	k_mutex_unlock(&data_lock);

	ble_led_restart();
}

static void disconnected(struct bt_conn *conn, uint8_t reason)
{
	char addr[BT_ADDR_LE_STR_LEN];

	bt_addr_le_to_str(bt_conn_get_dst(conn), addr, sizeof(addr));

	LOG_INF("Disconnected from %s (reason 0x%02x)", addr, reason);

	k_mutex_lock(&data_lock, K_FOREVER);
	data.ble_connected = false;
	k_mutex_unlock(&data_lock);

	ble_led_restart();
}

static void le_param_updated(struct bt_conn *conn, uint16_t interval,
			     uint16_t latency, uint16_t timeout)
{
	char addr[BT_ADDR_LE_STR_LEN];

	bt_addr_le_to_str(bt_conn_get_dst(conn), addr, sizeof(addr));

	LOG_INF("LE conn param updated: %s int 0x%04x lat %d to %d",
		addr, interval, latency, timeout);
}

BT_CONN_CB_DEFINE(conn_callbacks) = {
	.connected = connected,
	.disconnected = disconnected,
	.le_param_updated = le_param_updated,
};
```

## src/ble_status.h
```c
enum ble_status {
	BLE_STATUS_SEARCHING,
	BLE_STATUS_PAIRED,
	BLE_STATUS_CONNECTED
};

enum ble_status ble_status_get(void);
```

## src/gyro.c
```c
#include <math.h>
#include <stdlib.h>
#include <zephyr/drivers/sensor.h>
#include <zephyr/input/input.h>
#include <zephyr/kernel.h>
#include <zephyr/logging/log.h>
#include <zephyr/sys/atomic.h>
#include <zephyr/sys/util.h>

#include "system.h"

#define DT_DRV_COMPAT gyro

LOG_MODULE_REGISTER(gyro, LOG_LEVEL_INF);

#define IMU_OVERSAMPLING 64

static K_TIMER_DEFINE(gyro_sync, NULL, NULL);

static atomic_t gyro_active;

static const struct {
	const struct device *imu_l;
	const struct device *imu_r;
} cfg = {
	.imu_l = DEVICE_DT_GET(DT_NODELABEL(imu_l)),
	.imu_r = DEVICE_DT_GET(DT_NODELABEL(imu_r)),
};

struct vector {
	double x;
	double y;
	double z;
};

static void imu_read_gyro_burst(const struct device *dev, struct vector *v,
				int samples)
{
	struct sensor_value x, y, z;

	for (int i = 0; i < samples; i++) {
		sensor_sample_fetch_chan(dev, SENSOR_CHAN_GYRO_XYZ);
		sensor_channel_get(dev, SENSOR_CHAN_GYRO_X, &x);
		sensor_channel_get(dev, SENSOR_CHAN_GYRO_Y, &y);
		sensor_channel_get(dev, SENSOR_CHAN_GYRO_Z, &z);

		v->x += sensor_rad_to_degrees(&x);
		v->y += sensor_rad_to_degrees(&y);
		v->z += sensor_rad_to_degrees(&z);
	}

	v->x /= samples;
	v->y /= samples;
	v->z /= samples;
}

#define ramp_mid(x, z)  ((x) < (z)) ? 0 : (x) > (1 - (z)) ? 1 : ((x) - (z)) * (1 / (1 - 2 * (z)))

static void imu_read_gyros(struct vector *v)
{
	struct vector v0, v1;
	double weight, weight_0, weight_1;

	memset(&v0, 0, sizeof(v0));
	imu_read_gyro_burst(cfg.imu_l, &v0, IMU_OVERSAMPLING / 8 * 1);
	/* scale back to raw values */
	v0.x = v0.x * INT16_MAX / 500;
	v0.y = v0.y * INT16_MAX / 500;
	v0.z = v0.z * INT16_MAX / 500;

	memset(&v1, 0, sizeof(v1));
	imu_read_gyro_burst(cfg.imu_r, &v1, IMU_OVERSAMPLING / 8 * 7);
	/* scale back to raw values */
	v1.x = v1.x * INT16_MAX / 125;
	v1.y = v1.y * INT16_MAX / 125;
	v1.z = v1.z * INT16_MAX / 125;

	weight = MAX(abs(v1.x), abs(v1.y)) / 32768.0;
	weight_0 = ramp_mid(weight, 0.2);
	weight_1 = 1 - weight_0;

	v->x = (v0.x * weight_0) + (v1.x * weight_1 / 4);
	v->y = (v0.y * weight_0) + (v1.y * weight_1 / 4);
	v->z = (v0.z * weight_0) + (v1.z * weight_1 / 4);
}

static double hssnf(double t, double k, double x)
{
	double a = x - (x * k);
	double b = 1 - (x * k * (1 / t));
	return a / b;
}

#define CFG_GYRO_SENSITIVITY (pow(2, -9) * 1.45) * 1.6
#define SENSITIVITY_MULTIPLIER 4.0 / 3.0
#define MAGIC_T 1.0
#define MAGIC_K 0.5

static void gyro_loop(void)
{
	static double sub_x, sub_y, sub_z;
	int x, y, z;
	struct vector v;

	memset(&v, 0, sizeof(v));
	imu_read_gyros(&v);

	v.x *= CFG_GYRO_SENSITIVITY * SENSITIVITY_MULTIPLIER;
	v.y *= CFG_GYRO_SENSITIVITY * SENSITIVITY_MULTIPLIER;
	v.z *= CFG_GYRO_SENSITIVITY * SENSITIVITY_MULTIPLIER;

	if (v.x > 0 && v.x < MAGIC_T) {
		v.x =  hssnf(MAGIC_T, MAGIC_K,  v.x);
	} else if (v.x < 0 && v.x > -MAGIC_T) {
		v.x = -hssnf(MAGIC_T, MAGIC_K, -v.x);
	} if (v.y > 0 && v.y <  MAGIC_T) {
		v.y =  hssnf(MAGIC_T, MAGIC_K, v.y);
	} else if (v.y < 0 && v.y > -MAGIC_T) {
		v.y = -hssnf(MAGIC_T, MAGIC_K, -v.y);
	} if (v.z > 0 && v.z < MAGIC_T) {
		v.z =  hssnf(MAGIC_T, MAGIC_K,  v.z);
	} else if (v.z < 0 && v.z > -MAGIC_T) {
		v.z = -hssnf(MAGIC_T, MAGIC_K, -v.z);
	}

	// Reintroduce subpixel leftovers.
	v.x += sub_x;
	v.y += sub_y;
	v.z += sub_z;

	// Round down and save leftovers.
	sub_x = modf(v.x, &v.x);
	sub_y = modf(v.y, &v.y);
	sub_z = modf(v.z, &v.z);

	x = v.x;
	y = v.y;
	z = v.z;

	if (x || y || z) {
		input_report_rel(NULL, INPUT_REL_X, -z, false, K_FOREVER);
		input_report_rel(NULL, INPUT_REL_Y, x, true, K_FOREVER);
	}
}

static void imu_configure(const struct device *dev, int freq, int full_scale)
{
	struct sensor_value val;
	int ret;

	val.val1 = freq;
	val.val2 = 0;

	ret = sensor_attr_set(dev, SENSOR_CHAN_GYRO_XYZ,
			      SENSOR_ATTR_SAMPLING_FREQUENCY, &val);
	if (ret != 0) {
		LOG_ERR("%s: sampling frequency set failed: %d", dev->name, ret);
		return;
	}

	sensor_degrees_to_rad(full_scale, &val);

	ret = sensor_attr_set(dev, SENSOR_CHAN_GYRO_XYZ,
			      SENSOR_ATTR_FULL_SCALE, &val);
	if (ret != 0) {
		LOG_ERR("%s: scale set failed: %d", dev->name, ret);
	}
}

static void gyro_input_cb(struct input_event *evt)
{
	if (evt->code == INPUT_BTN_TOUCH) {
		if (evt->value) {
			atomic_set(&gyro_active, 1);
		} else {
			atomic_set(&gyro_active, 0);
		}
	}
}
INPUT_LISTENER_CB_DEFINE(NULL, gyro_input_cb);

static void gyro_thread(void)
{
	imu_configure(cfg.imu_l, 6660, 500);
	imu_configure(cfg.imu_r, 6660, 125);

	k_timer_start(&gyro_sync, K_MSEC(10), K_MSEC(10));

	while (system_is_running()) {
		if (atomic_get(&gyro_active)) {
			gyro_loop();
		}
		k_timer_status_sync(&gyro_sync);
	}

	imu_configure(cfg.imu_l, 0, 500);
	imu_configure(cfg.imu_r, 0, 125);
}

K_THREAD_DEFINE(gyro, 1024, gyro_thread, NULL, NULL, NULL, 14, 0, 0);
```

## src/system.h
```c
bool system_is_running(void);
```

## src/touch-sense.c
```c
#include <zephyr/drivers/gpio.h>
#include <zephyr/input/input.h>
#include <zephyr/kernel.h>
#include <zephyr/logging/log.h>

#include "system.h"

#define DT_DRV_COMPAT touch_sense

LOG_MODULE_REGISTER(touch_sense, LOG_LEVEL_INF);

static K_TIMER_DEFINE(touch_sense_sync, NULL, NULL);

static const struct {
	const struct gpio_dt_spec drive_gpio;
	const struct gpio_dt_spec sense_gpio;
} cfg = {
	.drive_gpio = GPIO_DT_SPEC_INST_GET(0, drive_gpios),
	.sense_gpio = GPIO_DT_SPEC_INST_GET(0, sense_gpios),
};

static struct {
	bool touch;
} data;

#define TOUCH_THRESHOLD 15

static void touch_sense_loop(void)
{
	int i;
	bool touch;
	unsigned int key;

	key = irq_lock();

	gpio_pin_set_dt(&cfg.drive_gpio, 1);

	for (i = 0; i < 50; i++) {
		if (gpio_pin_get_dt(&cfg.sense_gpio)) {
			break;
		}
		k_busy_wait(1);
	}

	irq_unlock(key);

	gpio_pin_set_dt(&cfg.drive_gpio, 0);

	LOG_DBG("sense: %d", i);

	touch = i > TOUCH_THRESHOLD;
	if (touch != data.touch) {
		input_report_key(NULL, INPUT_BTN_TOUCH, touch, true, K_FOREVER);
	}
	data.touch = touch;
}

static void touch_sense_thread(void)
{
	int ret;

	ret = gpio_pin_configure_dt(&cfg.drive_gpio, GPIO_OUTPUT);
	if (ret) {
		LOG_ERR("gpio_pin_configure_dt failed: %d", ret);
		return;
	}

	ret = gpio_pin_configure_dt(&cfg.sense_gpio, GPIO_INPUT);
	if (ret) {
		LOG_ERR("gpio_pin_configure_dt failed: %d", ret);
		return;
	}

	k_timer_start(&touch_sense_sync, K_MSEC(50), K_MSEC(50));

	while (system_is_running()) {
		touch_sense_loop();
		k_timer_status_sync(&touch_sense_sync);
	}
}

K_THREAD_DEFINE(touch_sense, 512, touch_sense_thread, NULL, NULL, NULL, 7, 0, 0);
```
